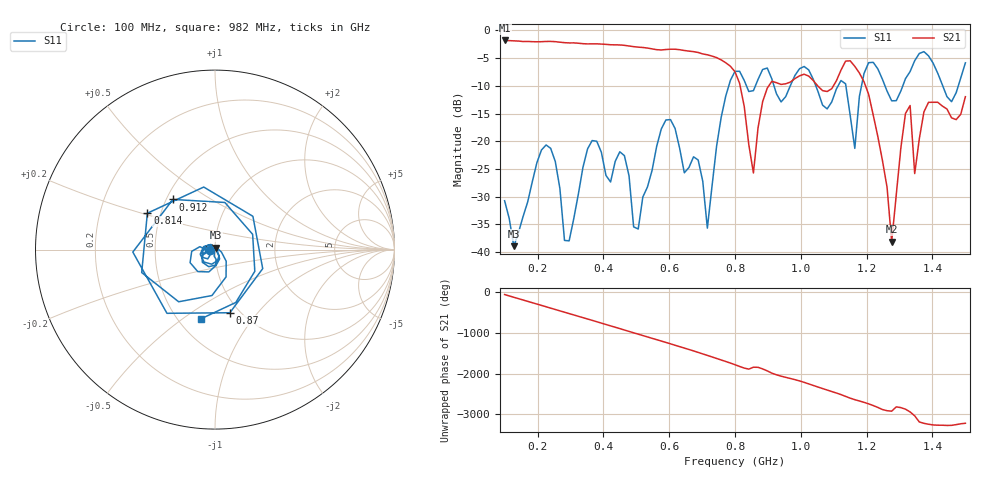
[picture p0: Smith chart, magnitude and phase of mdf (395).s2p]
! NanoVNA-App
! Date: 2025-09-25 15:41:30
! Start: 100MHz Stop: 1,5GHz Points: 101
! S-Parameter data: F S11 S21 S12 S22
# Hz S RI R 50
!  Frequency  S11_Real  S11_Imag  S21_Real  S21_Imag  S12_Real  S12_Imag  S22_Real  S22_Imag
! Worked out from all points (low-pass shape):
!   101 points, 100 MHz to 1.5 GHz, reference 50 ohm
!   highest |S21| = -1.80 dB at 100 MHz (marker M1); lowest = -38.2 dB at 1.276 GHz (marker M2)
!   |S21| within 3 dB of the highest: start of sweep to 739.1 MHz
!   lowest |S11| = -39.0 dB at 128 MHz (marker M3), VSWR 1.02, Z = 50.3 + j1.08 ohm
!   |S11| at or under -10 dB: start of sweep to 781.1 MHz; 1.046 GHz to 1.113 GHz (67.72 MHz wide, 6.27 % of centre); 1.256 GHz to 1.31 GHz (54.06 MHz wide, 4.21 % of centre) (the widest 3 of 7)
!   S12 and S22 are empty: the file has one direction only
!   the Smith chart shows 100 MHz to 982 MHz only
!   S11 on the Smith chart (normalised r, x): 100 MHz: 0.94, -0.01; 814 MHz: 0.42, +0.21; 870 MHz: 0.90, -0.73; 912 MHz: 0.54, +0.35; 982 MHz: 0.65, -0.59
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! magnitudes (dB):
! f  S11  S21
! 100 MHz  -30.8  -1.8
! 128 MHz  -39.0  -1.9
! 212 MHz  -21.6  -2.0
! 282 MHz  -37.9  -2.2
! 338 MHz  -24.7  -2.4
! 464 MHz  -22.6  -2.7
! 506 MHz  -35.9  -3.0
! 576 MHz  -17.8  -3.5
! 716 MHz  -35.7  -4.4
! 800 MHz  -7.4  -7.4
! 814 MHz  -7.4  -9.6
! 856 MHz  -10.9  -25.7
! 870 MHz  -8.8  -17.6
! 912 MHz  -8.8  -9.2
! 982 MHz  -8.1  -8.7
! 1.038 GHz  -8.8  -9.1
! 1.164 GHz  -21.3  -6.5
! 1.192 GHz  -7.8  -9.3
! 1.276 GHz  -12.7  -38.2
! 1.318 GHz  -8.7  -15.0
! 1.346 GHz  -5.5  -25.8
! 1.5 GHz  -5.8  -12.0
